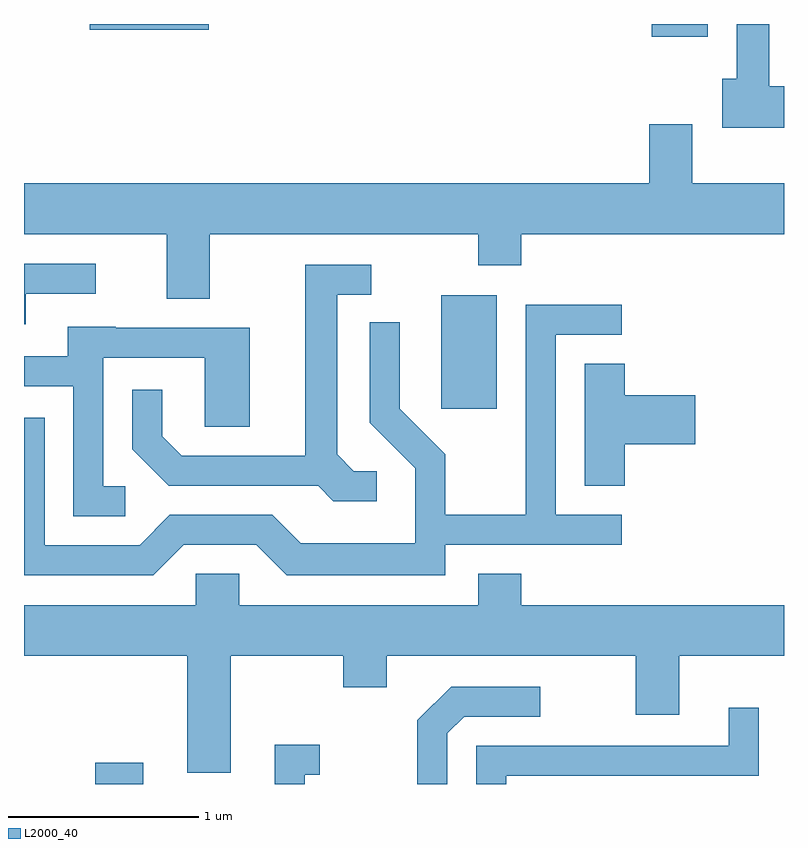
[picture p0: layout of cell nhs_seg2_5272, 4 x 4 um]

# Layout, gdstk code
import gdstk
lib = gdstk.Library(unit=1e-6, precision=1e-09)
def R(c, l, rs):  # rectangles x0, y0, x1, y1
    for r in rs: c.add(gdstk.rectangle(r[:2], r[2:], *l))
def P(c, l, *ps):  # polygons
    for p in ps: c.add(gdstk.Polygon(p, *l))
L2000_40 = (2000, 40)

nhs_seg2_5272 = lib.new_cell('nhs_seg2_5272')
R(nhs_seg2_5272, L2000_40, [(339.986,1109.802,340.239,1109.914), (341.806,1111.776,342.099,1112.374), (342.916,1113.736,343.209,1113.802), (339.956,1113.771,340.584,1113.802)])
P(nhs_seg2_5272, L2000_40, [(343.611,1113.474),(343.534,1113.474),(343.534,1113.802),(343.361,1113.802),(343.361,1113.514),(343.286,1113.514),(343.286,1113.256),(343.611,1113.256)],
  [(340.589,1112.696),(342.001,1112.696),(342.001,1112.531),(342.229,1112.531),(342.229,1112.696),(343.611,1112.696),(343.611,1112.964),(343.129,1112.964),(343.129,1113.274),(342.901,1113.274),(342.901,1112.964),(339.611,1112.964),(339.611,1112.696),(340.361,1112.696),(340.361,1112.356),(340.589,1112.356)],
  [(339.619,1112.381),(339.988,1112.381),(339.988,1112.539),(339.611,1112.539),(339.611,1112.221),(339.619,1112.221)],
  [(341.468,1111.449),(341.347,1111.449),(341.259,1111.537),(341.259,1112.376),(341.438,1112.376),(341.438,1112.534),(341.091,1112.534),(341.091,1111.529),(340.442,1111.529),(340.339,1111.632),(340.339,1111.878),(340.181,1111.878),(340.181,1111.564),(340.374,1111.371),(341.159,1111.371),(341.239,1111.291),(341.468,1111.291)],
  [(340.452,1111.061),(340.834,1111.061),(340.994,1110.901),(341.829,1110.901),(341.829,1111.061),(342.758,1111.061),(342.758,1111.219),(342.409,1111.219),(342.409,1112.166),(342.758,1112.166),(342.758,1112.324),(342.251,1112.324),(342.251,1111.219),(341.829,1111.219),(341.829,1111.537),(341.589,1111.777),(341.589,1112.233),(341.431,1112.233),(341.431,1111.704),(341.671,1111.464),(341.671,1111.069),(341.067,1111.069),(340.917,1111.219),(340.379,1111.219),(340.219,1111.059),(339.719,1111.059),(339.719,1111.729),(339.611,1111.729),(339.611,1110.901),(340.292,1110.901)],
  [(340.143,1111.369),(340.029,1111.369),(340.029,1112.046),(340.561,1112.046),(340.561,1111.681),(340.799,1111.681),(340.799,1112.204),(340.095,1112.204),(340.095,1112.209),(339.841,1112.209),(339.841,1112.054),(339.611,1112.054),(339.611,1111.896),(339.871,1111.896),(339.871,1111.211),(340.143,1111.211)],
  [(342.774,1111.591),(343.144,1111.591),(343.144,1111.849),(342.774,1111.849),(342.774,1112.014),(342.561,1112.014),(342.561,1111.371),(342.774,1111.371)],
  [(340.699,1110.476),(341.291,1110.476),(341.291,1110.311),(341.519,1110.311),(341.519,1110.476),(342.831,1110.476),(342.831,1110.166),(343.059,1110.166),(343.059,1110.476),(343.611,1110.476),(343.611,1110.744),(342.229,1110.744),(342.229,1110.909),(342.001,1110.909),(342.001,1110.744),(340.744,1110.744),(340.744,1110.909),(340.516,1110.909),(340.516,1110.744),(339.611,1110.744),(339.611,1110.476),(340.471,1110.476),(340.471,1109.861),(340.699,1109.861)],
  [(341.839,1110.069),(341.927,1110.156),(342.328,1110.156),(342.328,1110.314),(341.859,1110.314),(341.681,1110.137),(341.681,1109.802),(341.839,1109.802)],
  [(342.149,1109.846),(343.479,1109.846),(343.479,1110.203),(343.321,1110.203),(343.321,1110.004),(341.991,1110.004),(341.991,1109.802),(342.149,1109.802)],
  [(341.089,1109.851),(341.168,1109.851),(341.168,1110.009),(340.931,1110.009),(340.931,1109.802),(341.089,1109.802)])

lib.write_gds('nhs_seg2_5272.gds')
